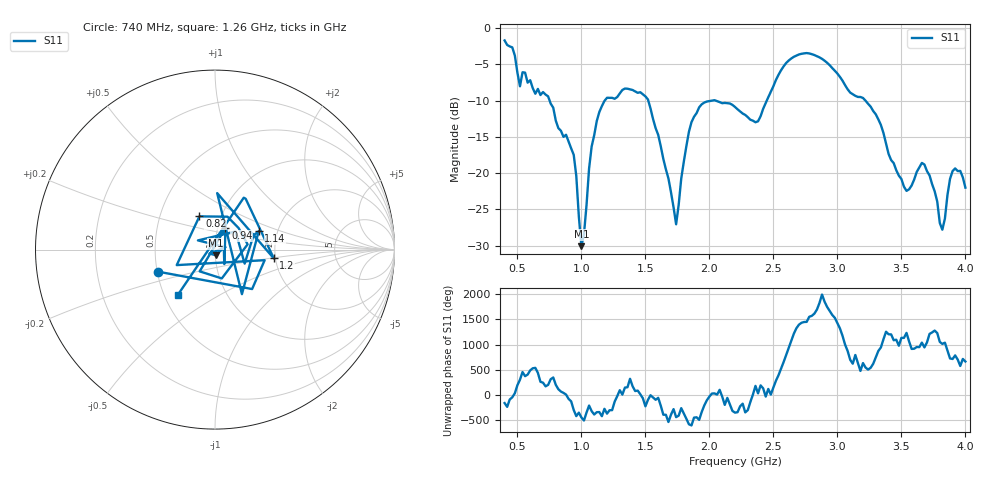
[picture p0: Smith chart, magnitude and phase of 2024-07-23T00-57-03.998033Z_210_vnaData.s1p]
!Created with skrf (http://scikit-rf.org).
# Hz S RI R 50.0
!freq ReS11 ImS11
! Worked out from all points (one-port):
!   181 points, 400 MHz to 4 GHz, reference 50 ohm
!   lowest |S11| = -30.1 dB at 1 GHz (marker M1), VSWR 1.06, Z = 50.2 - j3.14 ohm
!   |S11| at or under -10 dB: 751.9 MHz to 1.182 GHz (429.8 MHz wide, 44.5 % of centre); 1.523 GHz to 2.022 GHz (499.8 MHz wide, 28.2 % of centre); 3.22 GHz to end of sweep (the widest 3 of 4)
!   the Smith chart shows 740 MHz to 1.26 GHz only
!   S11 on the Smith chart (normalised r, x): 740 MHz: 0.51, -0.14; 820 MHz: 0.79, +0.30; 940 MHz: 1.09, +0.27; 1.14 GHz: 1.60, +0.35; 1.2 GHz: 1.96, -0.21; 1.26 GHz: 0.59, -0.33
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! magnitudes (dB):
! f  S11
! 400 MHz  -1.7
! 460 MHz  -2.7
! 520 MHz  -8.0
! 740 MHz  -9.4
! 820 MHz  -13.8
! 860 MHz  -15.0
! 940 MHz  -17.5
! 1 GHz  -30.1
! 1.08 GHz  -16.3
! 1.14 GHz  -11.6
! 1.2 GHz  -9.6
! 1.26 GHz  -9.7
! 1.3 GHz  -9.0
! 1.52 GHz  -9.8
! 1.74 GHz  -27.0
! 1.76 GHz  -24.4
! 1.84 GHz  -14.3
! 1.92 GHz  -10.9
! 2.2 GHz  -10.9
! 2.38 GHz  -12.8
! 2.66 GHz  -3.9
! 3.1 GHz  -8.9
! 3.3 GHz  -11.9
! 3.56 GHz  -22.2
! 3.68 GHz  -18.8
! 3.82 GHz  -27.8
! 3.9 GHz  -19.7
! 4 GHz  -22.0
